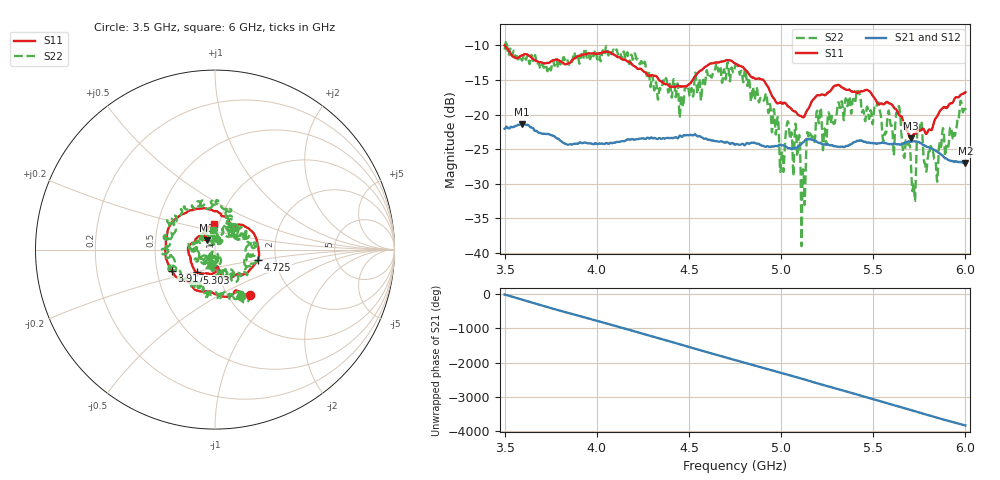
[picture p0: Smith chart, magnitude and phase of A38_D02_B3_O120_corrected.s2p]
! Created with skrf 1.9.0 (http://scikit-rf.org).
# Hz S RI R 50.0
!freq ReS11 ImS11 ReS21 ImS21 ReS12 ImS12 ReS22 ImS22
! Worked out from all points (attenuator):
!   1601 points, 3.5 GHz to 6 GHz, reference 50 ohm
!   highest |S21| = -21.38 dB at 3.592 GHz (marker M1); lowest = -27.0 dB at 6 GHz (marker M2)
!   lowest |S11| = -23.5 dB at 5.703 GHz (marker M3), VSWR 1.14, Z = 45.6 + j4.67 ohm
!   |S11| at or under -10 dB: 3.5 GHz to end of sweep
!   |S22| runs from -39.1 to -9.3 dB; largest |S21 - S12| = 0.00091
!   S11 on the Smith chart (normalised r, x): 3.5 GHz: 1.26, -0.70; 3.917 GHz: 0.60, -0.16; 4.725 GHz: 1.62, -0.19; 5.303 GHz: 0.79, -0.21; 6 GHz: 0.95, +0.28
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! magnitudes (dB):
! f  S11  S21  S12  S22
! 3.5 GHz  -10.0  -22.1  -22.1  -10.6
! 3.592 GHz  -11.4  -21.4  -21.4  -12.1
! 3.917 GHz  -11.4  -24.1  -24.1  -11.2
! 4.213 GHz  -13.1  -23.6  -23.6  -11.7
! 4.334 GHz  -14.9  -23.5  -23.4  -17.5
! 4.725 GHz  -12.2  -24.3  -24.2  -14.6
! 4.75 GHz  -12.6  -24.4  -24.3  -13.0
! 4.928 GHz  -16.0  -24.6  -24.6  -19.3
! 5.005 GHz  -18.3  -24.4  -24.5  -25.3
! 5.034 GHz  -18.7  -24.8  -24.7  -21.2
! 5.088 GHz  -19.9  -24.8  -24.8  -25.9
! 5.119 GHz  -20.4  -24.1  -24.0  -27.9
! 5.167 GHz  -18.1  -23.6  -23.6  -23.4
! 5.303 GHz  -15.7  -24.6  -24.6  -19.6
! 5.584 GHz  -18.4  -24.3  -24.3  -19.4
! 5.638 GHz  -19.9  -24.3  -24.3  -18.9
! 5.703 GHz  -23.5  -24.0  -23.9  -26.3
! 5.72 GHz  -22.8  -23.9  -23.9  -30.2
! 5.753 GHz  -22.3  -24.1  -24.0  -21.9
! 5.783 GHz  -22.7  -24.5  -24.5  -27.3
! 5.842 GHz  -20.4  -25.3  -25.2  -28.2
! 6 GHz  -16.8  -27.0  -27.0  -19.4
